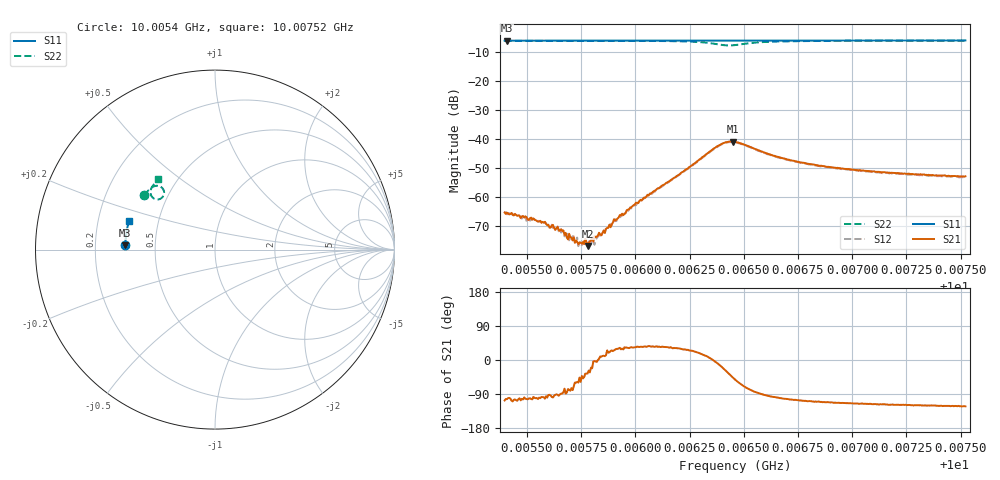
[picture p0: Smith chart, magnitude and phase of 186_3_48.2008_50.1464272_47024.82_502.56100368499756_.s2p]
#  HZ  S  RI  R  50.00
! Rohde & Schwarz Vector Network Analyzer
! Rohde-Schwarz,ZNB20-2Port,1311601062101988,3.16
! Created: UTC 3/20/2024, 11:44:21 AM
! freq[Hz]  re:S11  im:S11  re:S21  im:S21  re:S12  im:S12  re:S22  im:S22
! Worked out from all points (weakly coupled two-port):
!   401 points, 10.0054 GHz to 10.00752 GHz, reference 50 ohm
!   highest |S21| = -40.90 dB at 10.00645 GHz (marker M1); lowest = -77.1 dB at 10.00578 GHz (marker M2)
!   lowest |S11| = -6.0 dB at 10.00541 GHz (marker M3), VSWR 3.00, Z = 16.7 + j1.07 ohm
!   |S11| at or under -10 dB: nowhere
!   |S22| runs from -7.7 to -6.0 dB; largest |S21 - S12| = 0.00051
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1.0005398e10  -0.4999 0.0235  -0.000153 -0.00051  -0.000133 -0.000518  -0.3942 0.3015
1.0005408e10  -0.4998 0.0241  -0.000122 -0.000516  -8.99e-05 -0.000488  -0.3937 0.3021
1.0005573e10  -0.4995 0.035  -5.07e-05 -0.000364  -5.93e-05 -0.000366  -0.3865 0.3119
1.0005599e10  -0.4994 0.0367  -1.31e-05 -0.000329  -1.61e-05 -0.000307  -0.3852 0.3136
1.0005652e10  -0.4993 0.0401  -4.19e-06 -0.000258  2.66e-05 -0.000282  -0.3826 0.3168
1.0005721e10  -0.4991 0.0445  8.02e-05 -0.000138  4.97e-05 -0.000162  -0.3791 0.321
1.0005732e10  -0.499 0.0453  8.71e-05 -0.00014  8.04e-05 -0.000179  -0.3788 0.3218
1.0005753e10  -0.499 0.0466  0.000115 -0.000104  0.000112 -9.16e-05  -0.3776 0.3231
1.000578e10  -0.4988 0.0483  0.000114 -8.22e-05  0.000136 -7.85e-05  -0.3762 0.3248
1.0005806e10  -0.4987 0.0501  0.000169 -1.17e-05  0.000172 -3.68e-05  -0.3748 0.3265
1.0005849e10  -0.4986 0.0528  0.000231 4.35e-05  0.000229 4.44e-05  -0.3722 0.3292
1.0005876e10  -0.4983 0.0546  0.000273 9.59e-05  0.000278 0.000109  -0.3705 0.3309
1.0005998e10  -0.4977 0.0624  0.000611 0.000402  0.000567 0.000423  -0.3619 0.3393
1.0006109e10  -0.4969 0.0696  0.00115 0.000819  0.00111 0.000838  -0.351 0.3473
1.0006375e10  -0.494 0.0867  0.00728 -0.000885  0.00712 -0.000515  -0.2859 0.33
1.0006412e10  -0.4936 0.0888  0.00779 -0.00369  0.00779 -0.00322  -0.2858 0.3039
1.0006449e10  -0.4933 0.0909  0.00627 -0.00648  0.00645 -0.006  -0.3049 0.2828
1.000646e10  -0.4933 0.0914  0.00554 -0.00697  0.00578 -0.00654  -0.3122 0.2803
1.0006646e10  -0.492 0.1034  -0.000696 -0.005  -0.000473 -0.00491  -0.3595 0.3221
1.0006816e10  -0.49 0.1143  -0.00119 -0.00343  -0.000992 -0.00341  -0.3526 0.3458
1.0007171e10  -0.485 0.1367  -0.00123 -0.0023  -0.00106 -0.00229  -0.3336 0.372
1.0007522e10  -0.4791 0.1585  -0.0012 -0.00191  -0.00109 -0.00191  -0.3153 0.3906
